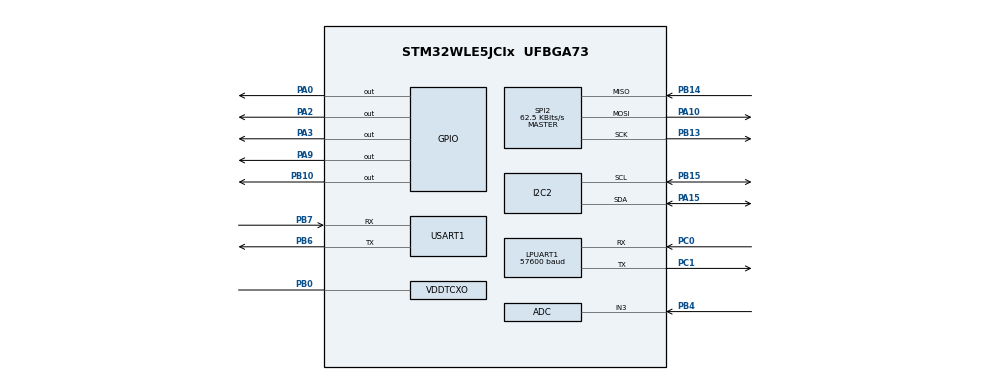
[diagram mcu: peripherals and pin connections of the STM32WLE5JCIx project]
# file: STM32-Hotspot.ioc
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ADC.NbrOfConversion=1
ADC.SelectedChannel=ADC_CHANNEL_3
ADC.Sequencer=NOT_FULLY_CONFIGURABLE
ADC.TriggerFrequencyMode=ADC_TRIGGER_FREQ_LOW
LPUART1.BaudRate=57600
LPUART1.MSBFirstParam=UART_ADVFEATURE_MSBFIRST_ENABLE
Mcu.Family=STM32WL
Mcu.Name=STM32WLE5JCIx
Mcu.Package=UFBGA73
NVIC.PriorityGroup=NVIC_PRIORITYGROUP_4
NVIC.TIM1_UP_IRQn=true\:15\:0\:false\:false\:true\:false\:true\:true
NVIC.TimeBase=TIM1_UP_IRQn
NVIC.TimeBaseIP=TIM1
OSC_IN.Mode=HSE-TCXO
OSC_IN.Signal=RCC_OSC_IN
PA0.Signal=GPIO_Output
PA10.Mode=Full_Duplex_Master
PA10.Signal=SPI2_MOSI
PA15.Mode=I2C
PA15.Signal=I2C2_SDA
PA2.Signal=GPIO_Output
PA3.Signal=GPIO_Output
PA9.Signal=GPIO_Output
PB0-VDD_TCXO.Mode=HSE-TCXO
PB0-VDD_TCXO.Signal=VDDTCXO
PB10.Signal=GPIO_Output
PB13.Mode=Full_Duplex_Master
PB13.Signal=SPI2_SCK
PB14.Mode=Full_Duplex_Master
PB14.Signal=SPI2_MISO
PB15.Mode=I2C
PB15.Signal=I2C2_SCL
PB3.Signal=ADC_IN2
PB4.Mode=IN3
PB4.Signal=ADC_IN3
PB6.Mode=Asynchronous
PB6.Signal=USART1_TX
PB7.Mode=Asynchronous
PB7.Signal=USART1_RX
PC0.Mode=Asynchronous
PC0.Signal=LPUART1_RX
PC1.Mode=Asynchronous
PC1.Signal=LPUART1_TX
ProjectManager.HeapSize=0x200
ProjectManager.StackSize=0x400
ProjectManager.TargetToolchain=STM32CubeIDE
RCC.AHBFreq_Value=4000000
RCC.APB1Freq_Value=4000000
RCC.APB1TimFreq_Value=4000000
RCC.APB2Freq_Value=4000000
RCC.APB2TimFreq_Value=4000000
RCC.APB3Freq_Value=4000000
RCC.CortexFreq_Value=4000000
RCC.HCLKFreq_Value=4000000
RCC.HSE_VALUE=8000000
RCC.HSI_VALUE=16000000
RCC.LSE_VALUE=32768
RCC.SYSCLKFreq_VALUE=4000000
RCC.VCOOutputFreq_Value=32000000
SPI2.BaudRatePrescaler=SPI_BAUDRATEPRESCALER_256
SPI2.CLKPhase=SPI_PHASE_2EDGE
SPI2.CalculateBaudRate=62.5 KBits/s
SPI2.DataSize=SPI_DATASIZE_8BIT
SPI2.Direction=SPI_DIRECTION_2LINES
SPI2.Mode=SPI_MODE_MASTER
SPI2.VirtualType=VM_MASTER
USART1.VirtualMode-Asynchronous=VM_ASYNC
VP_LPTIM1_VS_LPTIM_counterModeInternalClock.Mode=Counts__internal_clock_event_00
VP_SYS_VS_tim1.Mode=TIM1
VP_TIM2_VS_ClockSourceINT.Mode=Internal
board=custom

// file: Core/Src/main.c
/* USER CODE BEGIN Header */
/**
  ******************************************************************************
  * @file           : main.c
  * @brief          : Main program body
  ******************************************************************************
  * @attention
  *
  * Copyright (c) 2022 STMicroelectronics.
  * All rights reserved.
  *
  * This software is licensed under terms that can be found in the LICENSE file
  * in the root directory of this software component.
  * If no LICENSE file comes with this software, it is provided AS-IS.
  *
  ******************************************************************************
  */
/* USER CODE END Header */
#include "main.h"

/* USER CODE BEGIN Includes */

#include "CAda.h"
#include "bme680Interface.h"
#include "MLX90640_API.h"
#include "MLX90640_I2C_Driver.h"
#include "Anemometer.h"
#include <string.h>
#include "rn2483.h"
/* USER CODE END Includes */

ADC_HandleTypeDef hadc;

I2C_HandleTypeDef hi2c2;

LPTIM_HandleTypeDef hlptim1;

UART_HandleTypeDef hlpuart1;
UART_HandleTypeDef huart1;

SPI_HandleTypeDef hspi2;

TIM_HandleTypeDef htim2;

/* USER CODE BEGIN PV */
#define  FPS2HZ   0x02
#define  FPS4HZ   0x03
#define  FPS8HZ   0x04
#define  FPS16HZ  0x05
#define  FPS32HZ  0x06

#define  MLX90640_ADDR 0x33
#define	 RefreshRate FPS4HZ
#define  TA_SHIFT 8 //Default shift for MLX90640 in open air

static uint16_t eeMLX90640[832];
static float mlx90640To[768];
uint16_t frame[834];
float emissivity=0.95;
int status;
/* USER CODE END PV */

void SystemClock_Config(void);
static void MX_GPIO_Init(void);
static void MX_USART1_UART_Init(void);
static void MX_SPI2_Init(void);
static void MX_I2C2_Init(void);
static void MX_ADC_Init(void);
static void MX_LPTIM1_Init(void);
static void MX_TIM2_Init(void);
static void MX_LPUART1_UART_Init(void);

int main(void)
{

  /* MCU Configuration--------------------------------------------------------*/

  /* Reset of all peripherals, Initializes the Flash interface and the Systick. */
  HAL_Init();

  /* Configure the system clock */
  SystemClock_Config();

  /* Initialize all configured peripherals */
  MX_GPIO_Init();
  MX_USART1_UART_Init();
  MX_SPI2_Init();
  MX_I2C2_Init();
  MX_ADC_Init();
  MX_LPTIM1_Init();
  MX_TIM2_Init();
  MX_LPUART1_UART_Init();
  /* USER CODE BEGIN 2 */

  /**
   * LoRa
   */
  init_rn2483(&hlpuart1);
  //UART_HandleTypeDef hlpuart1;

  /**
   * Anemometer
   */
  Anemometer_init(&hadc);

  HAL_Delay(100);

  /**
   * BME680
   */
  bme680_interface_init(&hi2c2);

  HAL_Delay(1000);

  /**
   * MLX90640
   */
  MLX90640_I2CInit(&hi2c2);

  MLX90640_SetRefreshRate(MLX90640_ADDR, RefreshRate);
  MLX90640_SetChessMode(MLX90640_ADDR);

  paramsMLX90640 mlx90640;
  MLX90640_DumpEE(MLX90640_ADDR, eeMLX90640); //if (status != 0) printf("\r\nload system parameters error with code:%d\r\n",status);
  MLX90640_ExtractParameters(eeMLX90640, &mlx90640);

  HAL_Delay(100);

  /**
   * PT100
   */
  SPIDevice sensor1;
  sensor1.hspi = &hspi2;
  sensor1.gpio = GPIOA;
  sensor1.pin = GPIO_PIN_9;

  SPIDevice sensor2;
  sensor2.hspi = &hspi2;
  sensor2.gpio = GPIOA;
  sensor2.pin = GPIO_PIN_0;

  SPIDevice sensor3;
  sensor3.hspi = &hspi2;
  sensor3.gpio = GPIOB;
  sensor3.pin = GPIO_PIN_10;

  if(Init_Ada(sensor1)){
	  uint8_t message[16] = "1: Init problem\n";
	  HAL_UART_Transmit(&huart1, message, 16, 100);
  }

  if(Init_Ada(sensor2)){
  	  uint8_t message[16] = "2: Init problem\n";
  	  HAL_UART_Transmit(&huart1, message, 16, 100);
  }

  if(Init_Ada(sensor3)){
  	  uint8_t message[16] = "3: Init problem\n";
  	  HAL_UART_Transmit(&huart1, message, 16, 100);
  }

  HAL_Delay(100);

  /* USER CODE END 2 */

  /* Infinite loop */
  /* USER CODE BEGIN WHILE */
  while (1)
  {
	  /**
	   * Anemometer
	   */

	  double wind = getWindSpeed();
	  displayTemp(huart1,wind);

	  /**
	   * PT100
	   */
	  double temp1 = Get_Temperature(sensor1);

	  uint8_t message1[10] = "Sensor 1: ";
	  HAL_UART_Transmit(&huart1, message1, 10, 100);
	  displayTemp(huart1,temp1);

	  double temp2 = Get_Temperature(sensor2);

	  uint8_t message2[10] = "Sensor 2: ";
	  HAL_UART_Transmit(&huart1, message2, 10, 100);
	  displayTemp(huart1,temp2);

	  double temp3 = Get_Temperature(sensor3);

	  uint8_t message3[10] = "Sensor 3: ";
	  HAL_UART_Transmit(&huart1, message3, 10, 100);
	  displayTemp(huart1,temp3);

	  /**
	   * MLX90640
	   */
	  MLX90640_GetFrameData(MLX90640_ADDR, frame);

	  //float vdd = MLX90640_GetVdd(frame, &mlx90640);
	  float Ta = MLX90640_GetTa(frame, &mlx90640);

	  float tr = Ta - TA_SHIFT; //Reflected temperature based on the sensor ambient temperature

	  MLX90640_CalculateTo(frame, &mlx90640, emissivity , tr, mlx90640To);

	  double result = 0.0;
	  int nbTemps = 1;

	  for(int i = 0; i < 768; i++){
		  if(mlx90640To[i] != 0.0){
			  result += mlx90640To[i];
			  nbTemps++;
		  }
	  }

	  result = result/nbTemps;
	  displayTemp(huart1,result);

	  /**
	   * BME680
	   */
	  float temperature = 0.0;
	  float humidity = 0.0;
	  getTemperatureHumidity(&temperature, &humidity);
	  printTemperatureHumidity(temperature, humidity, &huart1);

	  /**
	   * LoRa
	   */
	  send_rn2483(&hlpuart1, 1, "", 0);

	  HAL_Delay(10000);
    /* USER CODE END WHILE */

  }
}

void SystemClock_Config(void)
{
  RCC_OscInitTypeDef RCC_OscInitStruct = {0};
  RCC_ClkInitTypeDef RCC_ClkInitStruct = {0};

  /** Configure the main internal regulator output voltage
  */
  __HAL_PWR_VOLTAGESCALING_CONFIG(PWR_REGULATOR_VOLTAGE_SCALE2);

  /** Initializes the CPU, AHB and APB buses clocks
  */
  RCC_OscInitStruct.OscillatorType = RCC_OSCILLATORTYPE_HSI|RCC_OSCILLATORTYPE_MSI;
  RCC_OscInitStruct.HSIState = RCC_HSI_ON;
  RCC_OscInitStruct.MSIState = RCC_MSI_ON;
  RCC_OscInitStruct.HSICalibrationValue = RCC_HSICALIBRATION_DEFAULT;
  RCC_OscInitStruct.MSICalibrationValue = RCC_MSICALIBRATION_DEFAULT;
  RCC_OscInitStruct.MSIClockRange = RCC_MSIRANGE_6;
  RCC_OscInitStruct.PLL.PLLState = RCC_PLL_NONE;
  if (HAL_RCC_OscConfig(&RCC_OscInitStruct) != HAL_OK)
  {
    Error_Handler();
  }

  /** Configure the SYSCLKSource, HCLK, PCLK1 and PCLK2 clocks dividers
  */
  RCC_ClkInitStruct.ClockType = RCC_CLOCKTYPE_HCLK3|RCC_CLOCKTYPE_HCLK
                              |RCC_CLOCKTYPE_SYSCLK|RCC_CLOCKTYPE_PCLK1
                              |RCC_CLOCKTYPE_PCLK2;
  RCC_ClkInitStruct.SYSCLKSource = RCC_SYSCLKSOURCE_MSI;
  RCC_ClkInitStruct.AHBCLKDivider = RCC_SYSCLK_DIV1;
  RCC_ClkInitStruct.APB1CLKDivider = RCC_HCLK_DIV1;
  RCC_ClkInitStruct.APB2CLKDivider = RCC_HCLK_DIV1;
  RCC_ClkInitStruct.AHBCLK3Divider = RCC_SYSCLK_DIV1;

  if (HAL_RCC_ClockConfig(&RCC_ClkInitStruct, FLASH_LATENCY_0) != HAL_OK)
  {
    Error_Handler();
  }
}

static void MX_ADC_Init(void)
{

  ADC_ChannelConfTypeDef sConfig = {0};

  /** Configure the global features of the ADC (Clock, Resolution, Data Alignment and number of conversion)
  */
  hadc.Instance = ADC;
  hadc.Init.ClockPrescaler = ADC_CLOCK_SYNC_PCLK_DIV1;
  hadc.Init.Resolution = ADC_RESOLUTION_12B;
  hadc.Init.DataAlign = ADC_DATAALIGN_RIGHT;
  hadc.Init.ScanConvMode = ADC_SCAN_SEQ_FIXED;
  hadc.Init.EOCSelection = ADC_EOC_SINGLE_CONV;
  hadc.Init.LowPowerAutoWait = DISABLE;
  hadc.Init.LowPowerAutoPowerOff = DISABLE;
  hadc.Init.ContinuousConvMode = DISABLE;
  hadc.Init.NbrOfConversion = 1;
  hadc.Init.DiscontinuousConvMode = DISABLE;
  hadc.Init.ExternalTrigConv = ADC_SOFTWARE_START;
  hadc.Init.ExternalTrigConvEdge = ADC_EXTERNALTRIGCONVEDGE_NONE;
  hadc.Init.DMAContinuousRequests = DISABLE;
  hadc.Init.Overrun = ADC_OVR_DATA_PRESERVED;
  hadc.Init.SamplingTimeCommon1 = ADC_SAMPLETIME_1CYCLE_5;
  hadc.Init.OversamplingMode = DISABLE;
  hadc.Init.TriggerFrequencyMode = ADC_TRIGGER_FREQ_LOW;
  if (HAL_ADC_Init(&hadc) != HAL_OK)
  {
    Error_Handler();
  }

  /** Configure Regular Channel
  */
  sConfig.Channel = ADC_CHANNEL_3;
  sConfig.Rank = ADC_RANK_CHANNEL_NUMBER;
  if (HAL_ADC_ConfigChannel(&hadc, &sConfig) != HAL_OK)
  {
    Error_Handler();
  }

}

static void MX_I2C2_Init(void)
{

  hi2c2.Instance = I2C2;
  hi2c2.Init.Timing = 0x00000E14;
  hi2c2.Init.OwnAddress1 = 0;
  hi2c2.Init.AddressingMode = I2C_ADDRESSINGMODE_7BIT;
  hi2c2.Init.DualAddressMode = I2C_DUALADDRESS_DISABLE;
  hi2c2.Init.OwnAddress2 = 0;
  hi2c2.Init.OwnAddress2Masks = I2C_OA2_NOMASK;
  hi2c2.Init.GeneralCallMode = I2C_GENERALCALL_DISABLE;
  hi2c2.Init.NoStretchMode = I2C_NOSTRETCH_DISABLE;
  if (HAL_I2C_Init(&hi2c2) != HAL_OK)
  {
    Error_Handler();
  }

  /** Configure Analogue filter
  */
  if (HAL_I2CEx_ConfigAnalogFilter(&hi2c2, I2C_ANALOGFILTER_ENABLE) != HAL_OK)
  {
    Error_Handler();
  }

  /** Configure Digital filter
  */
  if (HAL_I2CEx_ConfigDigitalFilter(&hi2c2, 0) != HAL_OK)
  {
    Error_Handler();
  }

}

static void MX_LPTIM1_Init(void)
{

  hlptim1.Instance = LPTIM1;
  hlptim1.Init.Clock.Source = LPTIM_CLOCKSOURCE_APBCLOCK_LPOSC;
  hlptim1.Init.Clock.Prescaler = LPTIM_PRESCALER_DIV1;
  hlptim1.Init.Trigger.Source = LPTIM_TRIGSOURCE_SOFTWARE;
  hlptim1.Init.OutputPolarity = LPTIM_OUTPUTPOLARITY_HIGH;
  hlptim1.Init.UpdateMode = LPTIM_UPDATE_IMMEDIATE;
  hlptim1.Init.CounterSource = LPTIM_COUNTERSOURCE_INTERNAL;
  hlptim1.Init.Input1Source = LPTIM_INPUT1SOURCE_GPIO;
  hlptim1.Init.Input2Source = LPTIM_INPUT2SOURCE_GPIO;
  if (HAL_LPTIM_Init(&hlptim1) != HAL_OK)
  {
    Error_Handler();
  }

}

static void MX_LPUART1_UART_Init(void)
{

  hlpuart1.Instance = LPUART1;
  hlpuart1.Init.BaudRate = 57600;
  hlpuart1.Init.WordLength = UART_WORDLENGTH_8B;
  hlpuart1.Init.StopBits = UART_STOPBITS_1;
  hlpuart1.Init.Parity = UART_PARITY_NONE;
  hlpuart1.Init.Mode = UART_MODE_TX_RX;
  hlpuart1.Init.HwFlowCtl = UART_HWCONTROL_NONE;
  hlpuart1.Init.OneBitSampling = UART_ONE_BIT_SAMPLE_DISABLE;
  hlpuart1.Init.ClockPrescaler = UART_PRESCALER_DIV1;
  hlpuart1.AdvancedInit.AdvFeatureInit = UART_ADVFEATURE_MSBFIRST_INIT;
  hlpuart1.AdvancedInit.MSBFirst = UART_ADVFEATURE_MSBFIRST_ENABLE;
  hlpuart1.FifoMode = UART_FIFOMODE_DISABLE;
  if (HAL_UART_Init(&hlpuart1) != HAL_OK)
  {
    Error_Handler();
  }
  if (HAL_UARTEx_SetTxFifoThreshold(&hlpuart1, UART_TXFIFO_THRESHOLD_1_8) != HAL_OK)
  {
    Error_Handler();
  }
  if (HAL_UARTEx_SetRxFifoThreshold(&hlpuart1, UART_RXFIFO_THRESHOLD_1_8) != HAL_OK)
  {
    Error_Handler();
  }
  if (HAL_UARTEx_DisableFifoMode(&hlpuart1) != HAL_OK)
  {
    Error_Handler();
  }

}

static void MX_USART1_UART_Init(void)
{

  huart1.Instance = USART1;
  huart1.Init.BaudRate = 115200;
  huart1.Init.WordLength = UART_WORDLENGTH_8B;
  huart1.Init.StopBits = UART_STOPBITS_1;
  huart1.Init.Parity = UART_PARITY_NONE;
  huart1.Init.Mode = UART_MODE_TX_RX;
  huart1.Init.HwFlowCtl = UART_HWCONTROL_NONE;
  huart1.Init.OverSampling = UART_OVERSAMPLING_16;
  huart1.Init.OneBitSampling = UART_ONE_BIT_SAMPLE_DISABLE;
  huart1.Init.ClockPrescaler = UART_PRESCALER_DIV1;
  huart1.AdvancedInit.AdvFeatureInit = UART_ADVFEATURE_NO_INIT;
  if (HAL_UART_Init(&huart1) != HAL_OK)
  {
    Error_Handler();
  }
  if (HAL_UARTEx_SetTxFifoThreshold(&huart1, UART_TXFIFO_THRESHOLD_1_8) != HAL_OK)
  {
    Error_Handler();
  }
  if (HAL_UARTEx_SetRxFifoThreshold(&huart1, UART_RXFIFO_THRESHOLD_1_8) != HAL_OK)
  {
    Error_Handler();
  }
  if (HAL_UARTEx_DisableFifoMode(&huart1) != HAL_OK)
  {
    Error_Handler();
  }

}

static void MX_SPI2_Init(void)
{

  /* SPI2 parameter configuration*/
  hspi2.Instance = SPI2;
  hspi2.Init.Mode = SPI_MODE_MASTER;
  hspi2.Init.Direction = SPI_DIRECTION_2LINES;
  hspi2.Init.DataSize = SPI_DATASIZE_8BIT;
  hspi2.Init.CLKPolarity = SPI_POLARITY_LOW;
  hspi2.Init.CLKPhase = SPI_PHASE_2EDGE;
  hspi2.Init.NSS = SPI_NSS_SOFT;
  hspi2.Init.BaudRatePrescaler = SPI_BAUDRATEPRESCALER_256;
  hspi2.Init.FirstBit = SPI_FIRSTBIT_MSB;
  hspi2.Init.TIMode = SPI_TIMODE_DISABLE;
  hspi2.Init.CRCCalculation = SPI_CRCCALCULATION_DISABLE;
  hspi2.Init.CRCPolynomial = 7;
  hspi2.Init.CRCLength = SPI_CRC_LENGTH_DATASIZE;
  hspi2.Init.NSSPMode = SPI_NSS_PULSE_DISABLE;
  if (HAL_SPI_Init(&hspi2) != HAL_OK)
  {
    Error_Handler();
  }

}

static void MX_TIM2_Init(void)
{

  TIM_ClockConfigTypeDef sClockSourceConfig = {0};
  TIM_MasterConfigTypeDef sMasterConfig = {0};

  htim2.Instance = TIM2;
  htim2.Init.Prescaler = 0;
  htim2.Init.CounterMode = TIM_COUNTERMODE_UP;
  htim2.Init.Period = 4294967295;
  htim2.Init.ClockDivision = TIM_CLOCKDIVISION_DIV1;
  htim2.Init.AutoReloadPreload = TIM_AUTORELOAD_PRELOAD_DISABLE;
  if (HAL_TIM_Base_Init(&htim2) != HAL_OK)
  {
    Error_Handler();
  }
  sClockSourceConfig.ClockSource = TIM_CLOCKSOURCE_INTERNAL;
  if (HAL_TIM_ConfigClockSource(&htim2, &sClockSourceConfig) != HAL_OK)
  {
    Error_Handler();
  }
  sMasterConfig.MasterOutputTrigger = TIM_TRGO_RESET;
  sMasterConfig.MasterSlaveMode = TIM_MASTERSLAVEMODE_DISABLE;
  if (HAL_TIMEx_MasterConfigSynchronization(&htim2, &sMasterConfig) != HAL_OK)
  {
    Error_Handler();
  }

}

static void MX_GPIO_Init(void)
{
  GPIO_InitTypeDef GPIO_InitStruct = {0};

  /* GPIO Ports Clock Enable */
  __HAL_RCC_GPIOA_CLK_ENABLE();
  __HAL_RCC_GPIOB_CLK_ENABLE();
  __HAL_RCC_GPIOC_CLK_ENABLE();

  /*Configure GPIO pin Output Level */
  HAL_GPIO_WritePin(GPIOA, GPIO_PIN_0|GPIO_PIN_9|GPIO_PIN_3|GPIO_PIN_2, GPIO_PIN_RESET);

  /*Configure GPIO pin Output Level */
  HAL_GPIO_WritePin(GPIOB, GPIO_PIN_10, GPIO_PIN_RESET);

  /*Configure GPIO pins : PA0 PA9 PA3 PA2 */
  GPIO_InitStruct.Pin = GPIO_PIN_0|GPIO_PIN_9|GPIO_PIN_3|GPIO_PIN_2;
  GPIO_InitStruct.Mode = GPIO_MODE_OUTPUT_PP;
  GPIO_InitStruct.Pull = GPIO_NOPULL;
  GPIO_InitStruct.Speed = GPIO_SPEED_FREQ_LOW;
  HAL_GPIO_Init(GPIOA, &GPIO_InitStruct);

  /*Configure GPIO pin : PB10 */
  GPIO_InitStruct.Pin = GPIO_PIN_10;
  GPIO_InitStruct.Mode = GPIO_MODE_OUTPUT_PP;
  GPIO_InitStruct.Pull = GPIO_NOPULL;
  GPIO_InitStruct.Speed = GPIO_SPEED_FREQ_LOW;
  HAL_GPIO_Init(GPIOB, &GPIO_InitStruct);

}

void HAL_TIM_PeriodElapsedCallback(TIM_HandleTypeDef *htim)
{
  if (htim->Instance == TIM1) {
    HAL_IncTick();
  }
}

void Error_Handler(void)
{
  __disable_irq();
  while (1)
  {
  }
}
